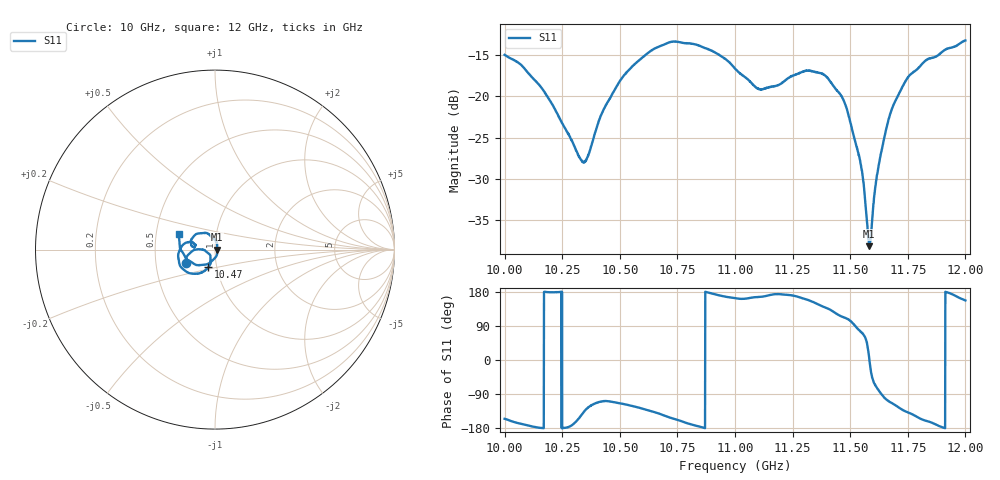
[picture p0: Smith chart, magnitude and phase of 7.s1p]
[Version] 2.0
! Rohde & Schwarz Vector Network Analyzer
! Rohde-Schwarz,ZNL20-2Port,1323001220200009,1.71.1.10-23.02.1.238
! Port Assignments:
! Nominal Port -> Actual Test Port
!  1 -> 1
! Created: GMT 2024-08-27 12:49:57
# Hz S DB R 50
[Number of Ports] 1
! freq[Hz]  S11[mag dB]  S11[ang]
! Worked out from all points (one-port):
!   2001 points, 10 GHz to 12 GHz, reference 50 ohm
!   lowest |S11| = -38.1 dB at 11.58 GHz (marker M1), VSWR 1.03, Z = 51.3 + j0.0313 ohm
!   |S11| at or under -10 dB: start of sweep to end of sweep
!   S11 on the Smith chart (normalised r, x): 10 GHz: 0.71, -0.11; 10.47 GHz: 0.91, -0.18; 12 GHz: 0.66, +0.12
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[Number of Frequencies] 28
[Network Data]
1e10  -14.98 -155.2
1.0153e10  -18.69 -178.9
1.025e10  -23.25 -180.0
1.0347e10  -27.93 -134.4
1.0419e10  -22.25 -110.0
1.0471e10  -19.54 -111.0
1.05e10  -18.15 -114.3
1.0637e10  -14.46 -135.2
1.075e10  -13.40 -158.0
1.0896e10  -14.45 175.8
1.1e10  -16.64 163.1
1.1109e10  -19.14 166.6
1.125e10  -17.49 170.0
1.1316e10  -16.87 158.5
1.139e10  -17.46 139.0
1.1465e10  -20.13 114.1
1.15e10  -23.08 103.7
1.1548e10  -28.63 73.7
1.1559e10  -30.71 65.9
1.1576e10  -36.48 34.4
1.1583e10  -38.11 1.4
1.159e10  -36.75 -29.4
1.1618e10  -29.32 -75.2
1.1658e10  -23.73 -104.9
1.1689e10  -20.99 -116.8
1.175e10  -17.74 -138.1
1.1833e10  -15.56 -161.2
1.2e10  -13.24 157.2
[End]
